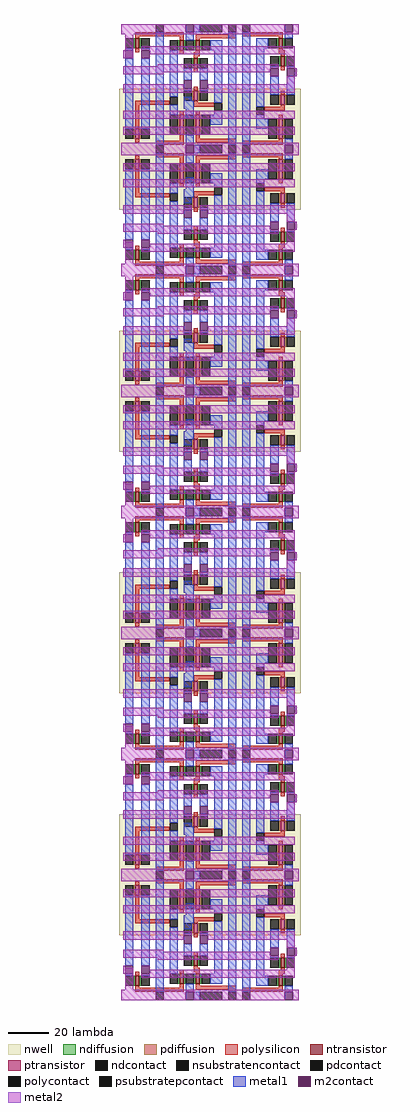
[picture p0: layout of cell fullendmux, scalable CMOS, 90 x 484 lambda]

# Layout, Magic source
magic
tech scmos
use endmuxtile endmuxtile_3
transform 1 0 0 0 1 360
box 0 0 90 124
use endmuxtile endmuxtile_2
transform 1 0 0 0 1 240
box 0 0 90 124
use endmuxtile endmuxtile_1
transform 1 0 0 0 1 120
box 0 0 90 124
use endmuxtile endmuxtile_0
transform 1 0 0 0 1 0
box 0 0 90 124
<< end >>

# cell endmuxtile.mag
magic
tech scmos
<< metal1 >>
rect 32 86 36 88
rect 32 82 37 86
rect 33 77 37 82
rect 33 42 37 48
rect 32 38 37 42
rect 32 35 36 38
<< metal2 >>
rect 3 107 7 124
rect 3 3 7 16
use 3to1mux 3to1mux_1
transform 1 0 16 0 -1 124
box -16 0 74 64
use 3to1mux 3to1mux_0
transform 1 0 16 0 1 0
box -16 0 74 64
<< end >>

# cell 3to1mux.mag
magic
tech scmos
<< nwell >>
rect -16 32 74 64
<< polysilicon >>
rect -8 57 -6 59
rect 2 58 16 60
rect 38 59 42 60
rect 14 55 16 58
rect 22 57 42 59
rect 45 58 65 60
rect 63 57 65 58
rect 22 55 24 57
rect -8 40 -6 52
rect 63 45 65 47
rect 14 43 16 45
rect 22 43 24 45
rect -8 38 9 40
rect 21 39 31 41
rect 56 41 66 43
rect 64 40 66 41
rect 21 38 23 39
rect 64 33 66 35
rect 21 31 23 33
rect 21 22 23 24
rect 64 21 66 23
rect 21 16 23 17
rect -8 12 -6 14
rect 14 13 16 15
rect 21 14 24 16
rect 64 15 66 16
rect 22 13 24 14
rect 63 13 66 15
rect 63 12 65 13
rect -8 6 -6 7
rect 14 6 16 8
rect -8 4 16 6
rect 22 7 24 8
rect 22 5 42 7
rect 63 6 65 7
rect 38 4 42 5
rect 45 4 65 6
<< ndiffusion >>
rect 20 17 21 22
rect 23 17 24 22
rect 63 16 64 21
rect 66 16 67 21
rect -9 7 -8 12
rect -6 7 -5 12
rect 13 8 14 13
rect 16 8 17 13
rect 21 8 22 13
rect 24 8 25 13
rect 62 7 63 12
rect 65 7 66 12
<< pdiffusion >>
rect -9 52 -8 57
rect -6 52 -5 57
rect 13 45 14 55
rect 16 45 17 55
rect 21 45 22 55
rect 24 45 25 55
rect 62 47 63 57
rect 65 47 66 57
rect 20 33 21 38
rect 23 33 24 38
rect 63 35 64 40
rect 66 35 67 40
<< metal1 >>
rect -13 17 -9 52
rect -13 12 -9 13
rect -5 17 -1 52
rect -5 12 -1 13
rect 2 4 6 60
rect 21 60 24 64
rect 17 55 21 60
rect 29 45 35 50
rect 9 40 13 45
rect 31 43 35 45
rect 9 13 13 36
rect 16 32 20 33
rect 16 22 20 28
rect 24 32 28 33
rect 24 22 28 28
rect 31 13 35 39
rect 29 8 35 13
rect 17 4 21 8
rect 38 4 42 60
rect 21 0 24 4
rect 45 4 49 60
rect 66 57 70 60
rect 52 47 58 52
rect 52 45 56 47
rect 52 12 56 41
rect 59 26 63 35
rect 59 21 63 22
rect 67 26 71 35
rect 67 21 71 22
rect 52 7 58 12
rect 66 4 70 7
<< metal2 >>
rect -15 60 17 64
rect 21 60 66 64
rect 70 60 73 64
rect -15 59 73 60
rect -14 51 71 55
rect -14 43 71 47
rect -14 32 20 34
rect -14 30 16 32
rect 24 32 71 34
rect 28 30 71 32
rect 67 26 71 30
rect -14 24 6 25
rect -14 22 59 24
rect -14 21 63 22
rect 3 20 63 21
rect 71 22 72 26
rect -14 13 -13 17
rect 67 15 71 22
rect -1 13 71 15
rect -5 11 71 13
rect -15 4 73 5
rect -15 0 17 4
rect 21 0 66 4
rect 70 0 73 4
<< ntransistor >>
rect 21 17 23 22
rect 64 16 66 21
rect -8 7 -6 12
rect 14 8 16 13
rect 22 8 24 13
rect 63 7 65 12
<< ptransistor >>
rect -8 52 -6 57
rect 14 45 16 55
rect 22 45 24 55
rect 63 47 65 57
rect 21 33 23 38
rect 64 35 66 40
<< polycontact >>
rect 2 60 6 64
rect 38 60 42 64
rect 45 60 49 64
rect 9 36 13 40
rect 31 39 35 43
rect 52 41 56 45
rect 2 0 6 4
rect 38 0 42 4
rect 45 0 49 4
<< ndcontact >>
rect 16 17 20 22
rect 24 17 28 22
rect 59 16 63 21
rect 67 16 71 21
rect -13 7 -9 12
rect -5 7 -1 12
rect 9 8 13 13
rect 17 8 21 13
rect 25 8 29 13
rect 58 7 62 12
rect 66 7 70 12
<< pdcontact >>
rect -13 52 -9 57
rect -5 52 -1 57
rect 9 45 13 55
rect 17 45 21 55
rect 25 45 29 55
rect 58 47 62 57
rect 66 47 70 57
rect 16 33 20 38
rect 24 33 28 38
rect 59 35 63 40
rect 67 35 71 40
<< m2contact >>
rect -13 13 -9 17
rect -5 13 -1 17
rect 17 60 21 64
rect 16 28 20 32
rect 24 28 28 32
rect 17 0 21 4
rect 66 60 70 64
rect 59 22 63 26
rect 67 22 71 26
rect 66 0 70 4
<< psubstratepcontact >>
rect 24 0 35 4
<< nsubstratencontact >>
rect 24 60 35 64
<< labels >>
rlabel metal2 -9 62 -9 62 5 Vdd
rlabel metal2 -9 2 -9 2 1 Gnd
rlabel metal2 -13 53 -13 53 7 Ex1
rlabel metal2 -13 45 -13 45 7 Ex2
rlabel metal2 -13 32 -13 32 7 In1
rlabel metal2 -13 23 -13 23 7 In2
rlabel metal2 -13 15 -13 15 7 In0
rlabel metal2 71 24 71 24 3 Out
rlabel polycontact 4 2 4 2 5 cntrl0
rlabel polycontact 40 2 40 2 5 cntrl1
rlabel polycontact 47 2 47 2 5 cntrl2
<< end >>
